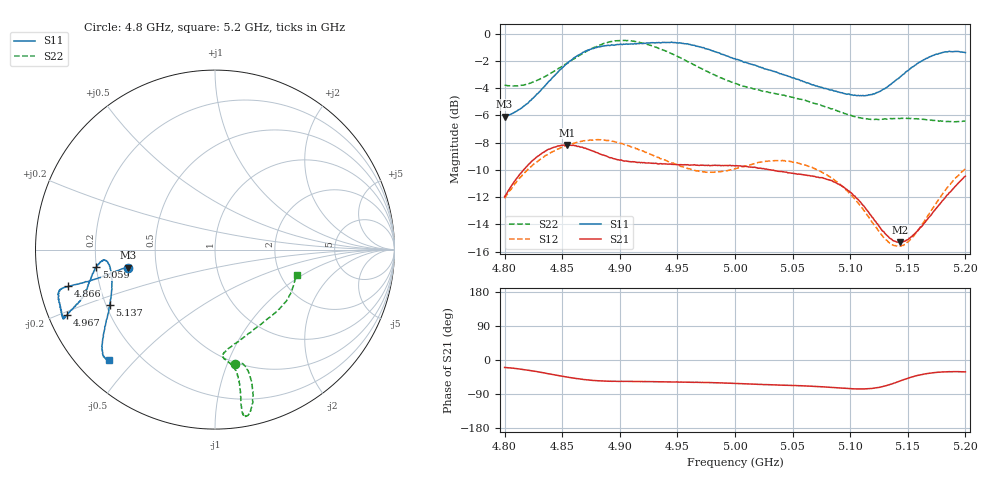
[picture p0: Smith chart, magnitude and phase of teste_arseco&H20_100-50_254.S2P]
! Network Analyzer HP8722D
! Hewlett-Packard
! Data name: Linha & Wilkinson
! Saver's name: Rodrigo Anjos
! Comments: Teste da utilização de aquisição
! continua pelo VNA HP8722D
! Time and date: 6/5/2025 14:41
!  Frequency  S11  S21  S12  S22
# HZ  S  MA R 50
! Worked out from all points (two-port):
!   401 points, 4.8 GHz to 5.2 GHz, reference 50 ohm
!   highest |S21| = -8.17 dB at 4.854 GHz (marker M1); lowest = -15.3 dB at 5.143 GHz (marker M2)
!   |S21| within 3 dB of the highest: 4.806 GHz to 5.093 GHz (286.6 MHz wide, 5.79 % of centre); 5.191521 GHz to end of sweep
!   lowest |S11| = -6.1 dB at 4.8 GHz (marker M3), VSWR 2.97, Z = 17 - j4.57 ohm
!   |S11| at or under -10 dB: nowhere
!   |S22| runs from -6.5 to -0.5 dB; largest |S21 - S12| = 0.62
!   S11 on the Smith chart (normalised r, x): 4.8 GHz: 0.34, -0.09; 4.866 GHz: 0.09, -0.12; 4.967 GHz: 0.06, -0.21; 5.059 GHz: 0.20, -0.07; 5.137 GHz: 0.22, -0.23; 5.2 GHz: 0.09, -0.42
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4.8e9  0.4965 -168.2  0.2521 -19.7  0.2486 -140.9  0.6481 -80.3
4.826e9  0.5877 -167.3  0.3472 -29.7  0.3336 -144.5  0.6676 -75.6
4.854e9  0.7765 -165.9  0.3903 -45.0  0.3891 -149.9  0.779 -74.6
4.866e9  0.843 -165.9  0.3832 -50.4  0.4021 -151.9  0.8376 -75.3
4.867e9  0.8479 -165.9  0.3836 -50.8  0.4028 -152.0  0.8425 -75.4
4.898e9  0.9132 -163.1  0.3447 -56.3  0.3981 -156.5  0.9424 -78.8
4.914e9  0.9173 -159.6  0.3375 -56.6  0.3784 -157.1  0.9359 -80.3
4.934e9  0.9289 -156.4  0.3326 -57.6  0.3508 -155.7  0.8824 -80.5
4.967e9  0.8994 -156.2  0.3291 -58.8  0.3134 -148.0  0.758 -79.6
5e9  0.8101 -159.0  0.3273 -61.9  0.3197 -137.2  0.6572 -81.3
5.035e9  0.7248 -165.2  0.3139 -65.9  0.3422 -134.4  0.6028 -85.7
5.059e9  0.6678 -171.6  0.3034 -68.2  0.3311 -136.1  0.5721 -84.3
5.067e9  0.6491 -173.1  0.3004 -69.2  0.323 -136.8  0.5585 -82.7
5.083e9  0.6208 -174.5  0.2894 -72.2  0.297 -138.3  0.5305 -76.7
5.101e9  0.5968 -172.0  0.2603 -75.8  0.2555 -138.8  0.5011 -66.4
5.116e9  0.5966 -165.4  0.2213 -75.8  0.2124 -135.5  0.4855 -55.7
5.134e9  0.6469 -154.4  0.1779 -65.2  0.1708 -120.6  0.4866 -43.3
5.137e9  0.6617 -152.4  0.1741 -62.3  0.1676 -116.7  0.4878 -41.4
5.143e9  0.6919 -149.2  0.1715 -55.7  0.166 -108.9  0.4879 -37.9
5.154e9  0.7553 -144.4  0.181 -44.6  0.1789 -95.1  0.4872 -32.3
5.173e9  0.8355 -138.9  0.224 -33.3  0.2328 -80.9  0.4807 -24.3
5.2e9  0.8531 -133.7  0.2999 -31.3  0.3194 -76.9  0.4779 -17.5
